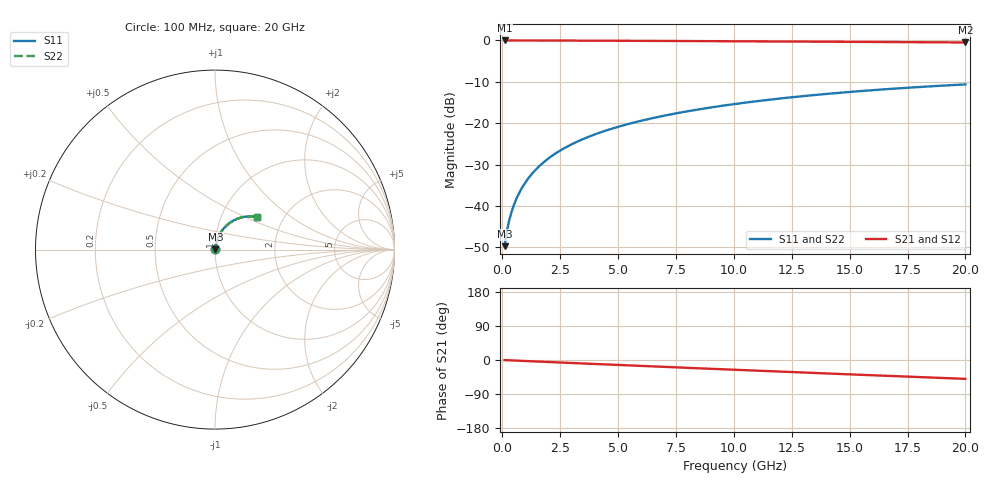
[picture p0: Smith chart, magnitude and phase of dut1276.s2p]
! Touchstone file exported from HFSS 2026.1.0
!  File:  C:/ffzhzh/LocalFiles/Ansys_Project_Files/temp_train_TMRDL_1276_1783164281_43440.aedt
!  Generated:  07:26:08 PM Jul  4, 2026
!  Design:  TMRDL
!  Project:  temp_train_TMRDL_1276_1783164281_43440
! Variables:
!  h_bsmrdl = 2um
!  h_ox = 20um
!  h_rdl = 5um
!  h_sub = 80um
!  h_tmrdl = 4.67um
!  h_tsv = 80um
!  h_via = 3um
!  l_bsmrdl = 300um
!  l_sub = 1219.72um
!  l_tmrdl = 819.72um
!  m_sub = 200um
!  pitch = 47.41um
!  r_tsv = 6um
!  s_tmrdl = 10um
!  w_bsmrdl = 18um
!  w_sub = 500um
!  w_tmrdl = 29.68um
!  x_tsv_center1 = 834.56um
!  x_tsv_center2 = 1152.56um
!  x_tsv_center3 = 2001.96um
!  x_tsv_center4 = 2319.96um
!  x_tsv_center5 = 3169.36um
!  x_tsv_center6 = 3487.36um
# GHz S MA R 50.000000
! Terminal data exported
! Port[1] = TM_RDL1_1_T1
! Port[2] = TM_RDL1_1_T2
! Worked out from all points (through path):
!   200 points, 100 MHz to 20 GHz, reference 50 ohm
!   highest |S21| = -0.02 dB at 100 MHz (marker M1); lowest = -0.5 dB at 20 GHz (marker M2)
!   group delay of S21, straight-line fit = 6.9 ps
!   lowest |S11| = -49.7 dB at 100 MHz (marker M3), VSWR 1.01, Z = 50.2 + j0.224 ohm
!   |S11| at or under -10 dB: start of sweep to end of sweep
!   |S22| runs from -49.7 to -10.6 dB; largest |S21 - S12| = 2e-14
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0.1  0.003265 43.0  0.9976 -0.3  0.9976 -0.3  0.003265 43.0
! Gamma 0 0 0 0
! Port Impedance 50 0 50 0
0.2  0.004993 57.4  0.9973 -0.6  0.9973 -0.6  0.004993 57.4
0.3  0.006726 64.2  0.9971 -0.8  0.9971 -0.8  0.006726 64.2
0.4  0.008464 68.4  0.997 -1.1  0.997 -1.1  0.008464 68.4
0.5  0.01022 71.3  0.9969 -1.3  0.9969 -1.3  0.01022 71.3
0.6  0.01201 73.3  0.9968 -1.6  0.9968 -1.6  0.01201 73.3
0.8  0.01562 75.9  0.9967 -2.1  0.9967 -2.1  0.01562 75.9
1.1  0.02111 77.8  0.9964 -2.9  0.9964 -2.9  0.02111 77.8
1.3  0.02478 78.4  0.9962 -3.5  0.9962 -3.5  0.02478 78.4
1.6  0.03029 78.8  0.9959 -4.3  0.9959 -4.3  0.03029 78.7
2.1  0.03943 78.5  0.9952 -5.6  0.9952 -5.6  0.03943 78.5
2.7  0.05026 77.7  0.9942 -7.1  0.9942 -7.1  0.05027 77.6
3.5  0.06446 76.1  0.9926 -9.2  0.9926 -9.2  0.06446 76.1
4.2  0.07663 74.6  0.9912 -11.0  0.9912 -11.0  0.07663 74.5
5  0.09027 72.8  0.9893 -13.1  0.9893 -13.1  0.09028 72.7
5.9  0.1053 70.7  0.9872 -15.4  0.9872 -15.4  0.1053 70.6
6.8  0.12 68.6  0.9849 -17.7  0.9849 -17.7  0.12 68.6
8.3  0.1438 65.1  0.9808 -21.4  0.9808 -21.4  0.1438 65.1
10.1  0.1712 60.9  0.9756 -25.9  0.9756 -25.9  0.1712 60.8
13.4  0.2176 53.2  0.9652 -34.1  0.9652 -34.1  0.2176 53.1
16.7  0.2586 45.6  0.9543 -42.0  0.9543 -42.0  0.2587 45.5
20  0.2938 38.0  0.9436 -49.8  0.9436 -49.8  0.2938 37.9
